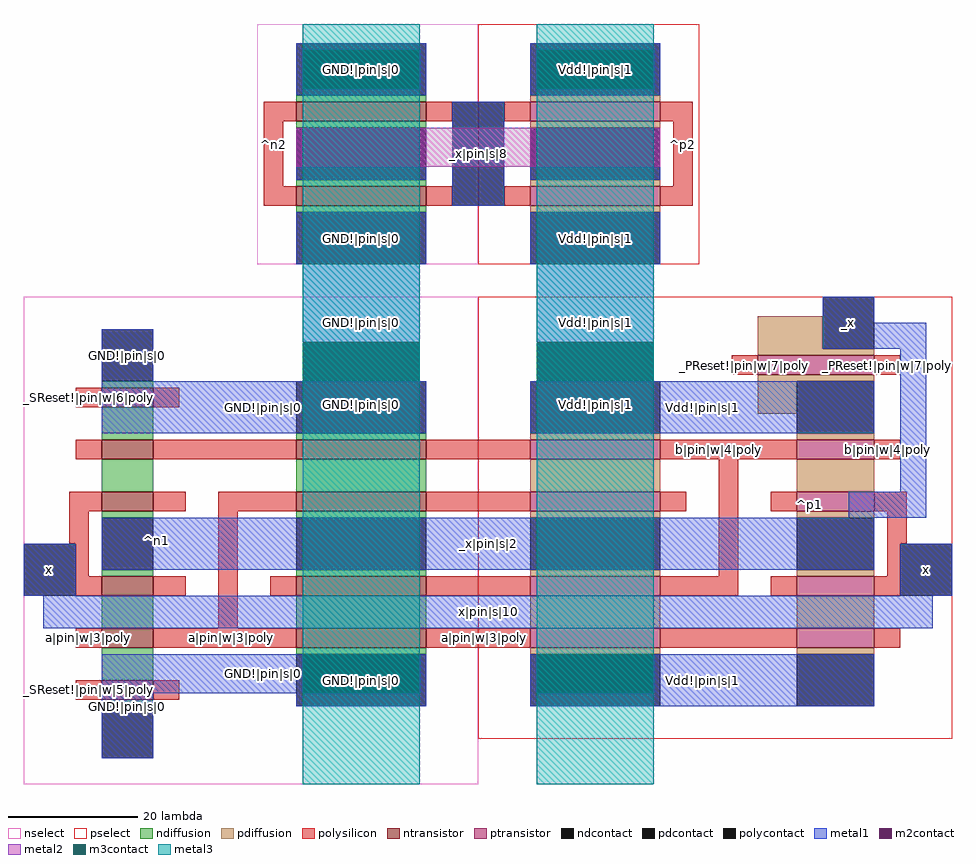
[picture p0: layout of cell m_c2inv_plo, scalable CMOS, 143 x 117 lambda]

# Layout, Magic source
magic
tech scmos
<< nselect >>
rect -34 42 0 79
rect -70 -38 0 37
<< pselect >>
rect 0 42 34 79
rect 0 -31 73 37
<< ndiffusion >>
rect -28 67 -8 68
rect -28 63 -8 64
rect -28 54 -8 55
rect -28 50 -8 51
rect -58 23 -50 24
rect -58 15 -50 20
rect -28 15 -8 16
rect -58 7 -50 12
rect -28 7 -8 12
rect -58 3 -50 4
rect -58 -6 -50 -5
rect -58 -14 -50 -9
rect -28 3 -8 4
rect -28 -6 -8 -5
rect -28 -14 -8 -9
rect -58 -22 -50 -17
rect -28 -18 -8 -17
rect -58 -26 -50 -25
<< pdiffusion >>
rect 8 67 28 68
rect 8 63 28 64
rect 8 54 28 55
rect 8 50 28 51
rect 43 29 53 34
rect 43 28 61 29
rect 43 24 61 25
rect 43 19 49 24
rect 8 15 28 16
rect 49 15 61 16
rect 8 7 28 12
rect 8 3 28 4
rect 8 -6 28 -5
rect 49 7 61 12
rect 49 3 61 4
rect 49 -6 61 -5
rect 8 -14 28 -9
rect 49 -14 61 -9
rect 8 -18 28 -17
rect 49 -18 61 -17
<< ntransistor >>
rect -28 64 -8 67
rect -28 51 -8 54
rect -58 20 -50 23
rect -58 12 -50 15
rect -28 12 -8 15
rect -58 4 -50 7
rect -28 4 -8 7
rect -58 -9 -50 -6
rect -28 -9 -8 -6
rect -58 -17 -50 -14
rect -28 -17 -8 -14
rect -58 -25 -50 -22
<< ptransistor >>
rect 8 64 28 67
rect 8 51 28 54
rect 43 25 61 28
rect 8 12 28 15
rect 49 12 61 15
rect 8 4 28 7
rect 49 4 61 7
rect 8 -9 28 -6
rect 49 -9 61 -6
rect 8 -17 28 -14
rect 49 -17 61 -14
<< polysilicon >>
rect -33 64 -28 67
rect -8 64 -4 67
rect -33 54 -30 64
rect -33 51 -28 54
rect -8 51 -4 54
rect 4 64 8 67
rect 28 64 33 67
rect 30 54 33 64
rect 4 51 8 54
rect 28 51 33 54
rect 39 25 43 28
rect 61 25 65 28
rect -62 20 -58 23
rect -50 20 -46 23
rect -62 12 -58 15
rect -50 12 -28 15
rect -8 12 8 15
rect 28 12 49 15
rect 61 12 65 15
rect -63 4 -58 7
rect -50 4 -45 7
rect -40 4 -28 7
rect -8 4 8 7
rect 28 4 32 7
rect -63 -1 -60 4
rect -62 -6 -60 -1
rect -62 -9 -58 -6
rect -50 -9 -45 -6
rect -40 -14 -37 4
rect 37 -6 40 12
rect 45 4 49 7
rect 61 4 66 7
rect 63 -1 66 4
rect 63 -6 65 -1
rect -32 -9 -28 -6
rect -8 -9 8 -6
rect 28 -9 40 -6
rect 45 -9 49 -6
rect 61 -9 65 -6
rect -62 -17 -58 -14
rect -50 -17 -28 -14
rect -8 -17 8 -14
rect 28 -17 49 -14
rect 61 -17 65 -14
rect -62 -25 -58 -22
rect -50 -25 -46 -22
<< ndcontact >>
rect -28 68 -8 76
rect -28 55 -8 63
rect -28 42 -8 50
rect -58 24 -50 32
rect -28 16 -8 24
rect -58 -5 -50 3
rect -28 -5 -8 3
rect -28 -26 -8 -18
rect -58 -34 -50 -26
<< pdcontact >>
rect 8 68 28 76
rect 8 55 28 63
rect 8 42 28 50
rect 53 29 61 37
rect 8 16 28 24
rect 49 16 61 24
rect 8 -5 28 3
rect 49 -5 61 3
rect 8 -26 28 -18
rect 49 -26 61 -18
<< polycontact >>
rect -4 51 4 67
rect -70 -9 -62 -1
rect 65 -9 73 -1
<< metal1 >>
rect -28 75 -8 76
rect -28 69 -27 75
rect -9 69 -8 75
rect -28 68 -8 69
rect 8 75 28 76
rect 8 69 9 75
rect 27 69 28 75
rect 8 68 28 69
rect -28 55 -8 57
rect -4 51 4 67
rect 8 55 28 57
rect -28 42 -8 50
rect 8 42 28 50
rect -58 24 -50 32
rect -27 30 -9 42
rect 9 30 27 42
rect 53 33 61 37
rect 53 29 69 33
rect -58 16 -8 24
rect 8 16 61 24
rect 65 7 69 29
rect 57 3 69 7
rect -70 -9 -62 -1
rect -58 -5 61 3
rect 65 -9 73 -1
rect -67 -14 70 -9
rect -58 -24 -27 -18
rect -9 -24 -8 -18
rect -58 -34 -50 -24
rect -28 -26 -8 -24
rect 8 -24 9 -18
rect 27 -24 61 -18
rect 8 -26 61 -24
<< m2contact >>
rect -27 69 -9 75
rect 9 69 27 75
rect -28 57 -8 63
rect 8 57 28 63
rect -27 24 -9 30
rect 9 24 27 30
rect -27 -24 -9 -18
rect 9 -24 27 -18
<< metal2 >>
rect -28 57 28 63
<< m3contact >>
rect -27 69 -9 75
rect 9 69 27 75
rect -27 24 -9 30
rect 9 24 27 30
rect -27 -24 -9 -18
rect 9 -24 27 -18
<< metal3 >>
rect -27 -38 -9 79
rect 9 -38 27 79
<< labels >>
rlabel metal1 -66 -5 -66 -5 1 x
rlabel metal1 57 33 57 33 5 _x
rlabel metal1 69 -5 69 -5 1 x
rlabel space -71 -38 -28 37 7 ^n1
rlabel space -35 42 -28 79 7 ^n2
rlabel space 28 42 35 79 3 ^p2
rlabel space 28 -31 74 41 3 ^p1
rlabel metal3 -27 -38 -9 79 1 GND!|pin|s|0
rlabel metal3 9 -38 27 79 1 Vdd!|pin|s|1
rlabel metal1 -58 -34 -50 -18 1 GND!|pin|s|0
rlabel metal1 -58 -24 -8 -18 1 GND!|pin|s|0
rlabel metal1 -28 -26 -8 -18 1 GND!|pin|s|0
rlabel metal1 -58 16 -8 24 1 GND!|pin|s|0
rlabel metal1 -28 16 -8 24 1 GND!|pin|s|0
rlabel metal1 -58 24 -50 32 1 GND!|pin|s|0
rlabel metal1 -27 24 -9 42 1 GND!|pin|s|0
rlabel metal1 -28 42 -8 50 1 GND!|pin|s|0
rlabel metal1 -28 68 -8 76 1 GND!|pin|s|0
rlabel metal1 8 -26 61 -18 1 Vdd!|pin|s|1
rlabel metal1 8 16 61 24 1 Vdd!|pin|s|1
rlabel metal1 9 24 27 42 1 Vdd!|pin|s|1
rlabel metal1 8 42 28 50 1 Vdd!|pin|s|1
rlabel metal1 8 68 28 76 1 Vdd!|pin|s|1
rlabel polysilicon -1 -17 3 -14 1 a|pin|w|3|poly
rlabel polysilicon -40 -17 -36 -14 1 a|pin|w|3|poly
rlabel polysilicon -62 -17 -58 -14 1 a|pin|w|3|poly
rlabel polysilicon 35 12 39 15 1 b|pin|w|4|poly
rlabel polysilicon 61 12 65 15 1 b|pin|w|4|poly
rlabel polysilicon -62 -25 -58 -22 1 _SReset!|pin|w|5|poly
rlabel polysilicon -50 -25 -46 -22 1 _SReset!|pin|w|5|poly
rlabel polysilicon -62 20 -58 23 1 _SReset!|pin|w|6|poly
rlabel polysilicon -50 20 -46 23 1 _SReset!|pin|w|6|poly
rlabel polysilicon 39 25 43 28 1 _PReset!|pin|w|7|poly
rlabel polysilicon 61 25 65 28 1 _PReset!|pin|w|7|poly
rlabel metal1 -58 -5 61 3 1 _x|pin|s|2
rlabel metal1 -4 51 4 67 1 _x|pin|s|8
rlabel metal2 -28 57 28 63 1 x|pin|s|9
rlabel metal1 -67 -14 70 -9 1 x|pin|s|10
<< end >>
